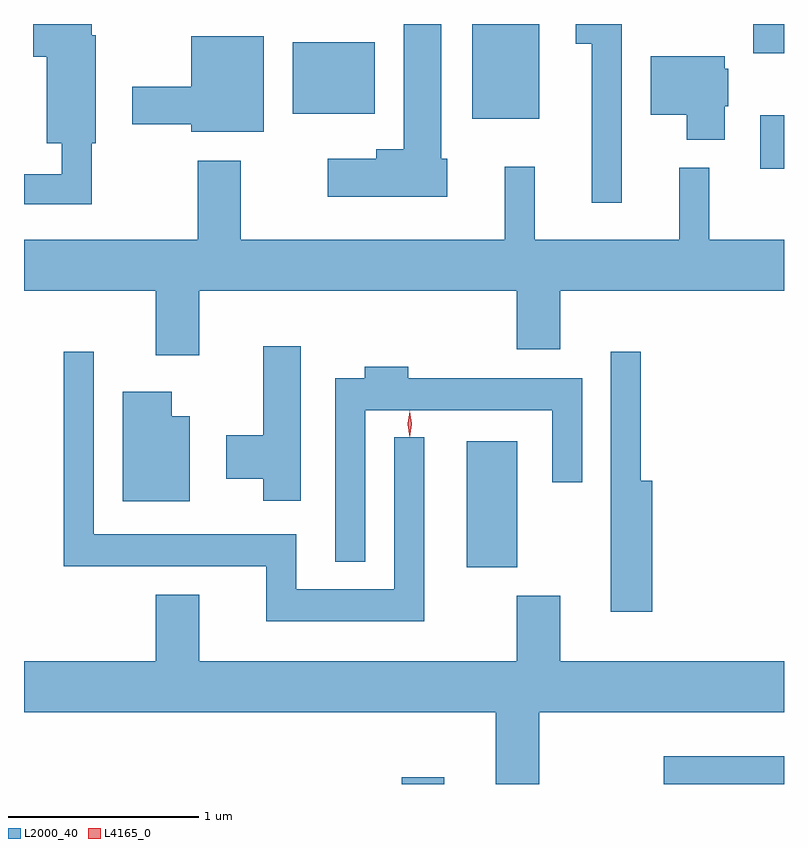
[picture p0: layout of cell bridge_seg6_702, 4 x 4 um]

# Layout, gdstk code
import gdstk
lib = gdstk.Library(unit=1e-6, precision=1e-09)
def R(c, l, rs):  # rectangles x0, y0, x1, y1
    for r in rs: c.add(gdstk.rectangle(r[:2], r[2:], *l))
def P(c, l, *ps):  # polygons
    for p in ps: c.add(gdstk.Polygon(p, *l))
L2000_40 = (2000, 40)
L4165_0 = (4165, 0)

bridge_seg6_702 = lib.new_cell('bridge_seg6_702')
R(bridge_seg6_702, L2000_40, [(502.036,1536.339,502.259,1536.374), (503.413,1536.339,504.047,1536.484), (502.376,1537.481,502.644,1538.144), (503.921,1539.576,504.047,1539.859), (502.406,1539.841,502.759,1540.339), (501.461,1539.866,501.894,1540.244), (503.886,1540.186,504.047,1540.339)])
P(bridge_seg6_702, L2000_40, [(500.404,1539.711),(500.424,1539.711),(500.424,1540.279),(500.404,1540.279),(500.404,1540.339),(500.096,1540.339),(500.096,1540.166),(500.166,1540.166),(500.166,1539.711),(500.246,1539.711),(500.246,1539.549),(500.047,1539.549),(500.047,1539.391),(500.404,1539.391)],
  [(502.274,1539.629),(502.244,1539.629),(502.244,1540.339),(502.046,1540.339),(502.046,1539.679),(501.901,1539.679),(501.901,1539.629),(501.646,1539.629),(501.646,1539.431),(502.274,1539.431)],
  [(503.194,1540.339),(502.951,1540.339),(502.951,1540.236),(503.036,1540.236),(503.036,1539.398),(503.194,1539.398)],
  [(501.309,1540.274),(500.926,1540.274),(500.926,1540.009),(500.616,1540.009),(500.616,1539.811),(500.926,1539.811),(500.926,1539.771),(501.309,1539.771)],
  [(503.734,1539.906),(503.754,1539.906),(503.754,1540.104),(503.734,1540.104),(503.734,1540.169),(503.346,1540.169),(503.346,1539.861),(503.536,1539.861),(503.536,1539.731),(503.734,1539.731)],
  [(500.969,1538.936),(502.641,1538.936),(502.641,1538.626),(502.869,1538.626),(502.869,1538.936),(504.047,1538.936),(504.047,1539.204),(503.654,1539.204),(503.654,1539.583),(503.496,1539.583),(503.496,1539.204),(502.734,1539.204),(502.734,1539.588),(502.576,1539.588),(502.576,1539.204),(501.189,1539.204),(501.189,1539.619),(500.961,1539.619),(500.961,1539.204),(500.047,1539.204),(500.047,1538.936),(500.741,1538.936),(500.741,1538.596),(500.969,1538.596)],
  [(501.504,1538.644),(501.306,1538.644),(501.306,1538.174),(501.111,1538.174),(501.111,1537.946),(501.306,1537.946),(501.306,1537.831),(501.504,1537.831)],
  [(503.354,1537.934),(503.294,1537.934),(503.294,1538.613),(503.136,1538.613),(503.136,1537.246),(503.354,1537.246)],
  [(502.154,1538.163),(501.996,1538.163),(501.996,1537.364),(501.479,1537.364),(501.479,1537.654),(500.414,1537.654),(500.414,1538.613),(500.256,1538.613),(500.256,1537.486),(501.321,1537.486),(501.321,1537.196),(502.154,1537.196)],
  [(501.844,1538.306),(502.826,1538.306),(502.826,1537.928),(502.984,1537.928),(502.984,1538.474),(502.069,1538.474),(502.069,1538.534),(501.841,1538.534),(501.841,1538.474),(501.686,1538.474),(501.686,1537.508),(501.844,1537.508)],
  [(500.919,1538.274),(500.824,1538.274),(500.824,1538.404),(500.566,1538.404),(500.566,1537.826),(500.919,1537.826)],
  [(502.759,1536.716),(504.047,1536.716),(504.047,1536.984),(502.869,1536.984),(502.869,1537.329),(502.641,1537.329),(502.641,1536.984),(500.969,1536.984),(500.969,1537.334),(500.741,1537.334),(500.741,1536.984),(500.047,1536.984),(500.047,1536.716),(502.531,1536.716),(502.531,1536.339),(502.759,1536.339)])
P(bridge_seg6_702, L4165_0, [(502.077,1538.164),(502.077,1538.164),(502.067,1538.233),(502.077,1538.302),(502.077,1538.303),(502.078,1538.302),(502.087,1538.233),(502.078,1538.164)],
  [(502.077,1538.167),(502.077,1538.167),(502.067,1538.234),(502.077,1538.3),(502.077,1538.301),(502.078,1538.3),(502.087,1538.234),(502.078,1538.167)])

lib.write_gds('bridge_seg6_702.gds')
